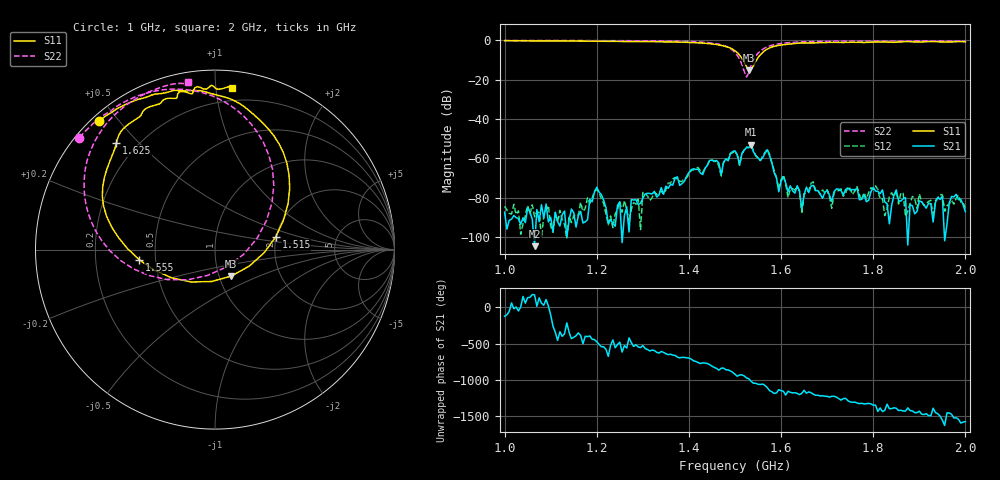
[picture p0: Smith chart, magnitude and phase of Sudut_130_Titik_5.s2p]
# Hz S RI R 50
! CMT, C1220, 16058040, 17.2.0/1
! Date: 14/08/2018 11:48:05
! Data: Format (Calibration Info)
! Freq  S11: Re/Im (F2)  S21: Re/Im (F2)  S12: Re/Im (F2)  S22: Re/Im (F2)
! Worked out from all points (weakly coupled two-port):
!   201 points, 1 GHz to 2 GHz, reference 50 ohm
!   highest |S21| = -52.97 dB at 1.535 GHz (marker M1); lowest = -104.5 dB at 1.065 GHz (marker M2)
!   lowest |S11| = -15.2 dB at 1.53 GHz (marker M3), VSWR 1.42, Z = 57.2 - j17.4 ohm
!   |S11| at or under -10 dB: 1.517 GHz to 1.547 GHz (30.16 MHz wide, 1.97 % of centre)
!   |S22| runs from -18.7 to -0.2 dB; largest |S21 - S12| = 0.00015
!   S11 on the Smith chart (normalised r, x): 1 GHz: 0.02, +0.44; 1.515 GHz: 1.99, +0.32; 1.555 GHz: 0.40, -0.06; 1.625 GHz: 0.13, +0.43; 2 GHz: 0.11, +1.11
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1e9  -0.6472 0.7151  -2.34e-05 -3.66e-05  6.13e-05 3.17e-06  -0.755 0.6244
1.065e9  -0.5757 0.7645  -5.94e-06 5.76e-07  -3.32e-05 -3.36e-06  -0.71 0.6728
1.17e9  -0.4672 0.822  -1.82e-05 -1.41e-05  3.93e-05 -2.34e-05  -0.6183 0.7506
1.335e9  -0.2035 0.8854  9.07e-07 0.000118  -2.45e-05 0.000138  -0.4009 0.866
1.45e9  0.1849 0.7786  -3.5e-05 -0.000896  -0.000122 -0.00092  0.0213 0.8396
1.47e9  0.2973 0.672  -0.000199 -0.000333  -0.000201 -0.000298  0.1616 0.742
1.5e9  0.4162 0.341  -0.00141 0.000664  -0.00135 0.000634  0.3277 0.358
1.51e9  0.3819 0.1649  -0.00058 0.000387  -0.000591 0.000321  0.2862 0.1601
1.515e9  0.339 0.0716  -0.00112 0.000716  -0.00115 0.000672  0.2342 0.0624
1.53e9  0.0912 -0.1476  -0.000111 0.00187  -3.23e-05 0.00188  -0.041 -0.1436
1.535e9  -0.0191 -0.1778  0.00119 0.0019  0.0012 0.0019  -0.1525 -0.1684
1.555e9  -0.4212 -0.0571  0.000861 0.00021  0.000854 0.000217  -0.5262 -0.0607
1.57e9  -0.5771 0.1283  0.00146 -0.000796  0.00149 -0.000884  -0.6654 0.1047
1.595e9  -0.6166 0.3999  7.67e-05 -0.000121  8.9e-05 -0.000139  -0.7291 0.3406
1.605e9  -0.5894 0.4833  6.38e-05 -0.000338  2.03e-05 -0.000381  -0.727 0.4113
1.615e9  -0.5637 0.5469  2.45e-05 -0.00014  1.61e-05 -0.000101  -0.7186 0.4703
1.625e9  -0.5491 0.5941  -3.28e-05 -0.000148  -2.69e-05 -0.000171  -0.7049 0.5201
1.645e9  -0.5125 0.6721  -1.44e-05 -4.91e-05  -5.49e-07 -4.33e-05  -0.6711 0.6005
1.67e9  -0.429 0.733  -0.000101 -0.000181  -0.000136 -0.000215  -0.6271 0.6722
1.71e9  -0.3591 0.7974  -6.98e-05 -4.17e-05  -4.79e-05 -2.6e-05  -0.5602 0.7499
1.835e9  -0.1361 0.8686  1.73e-05 1.37e-05  3.72e-05 0.000102  -0.3774 0.8742
2e9  0.0972 0.9016  -3.33e-05 -2.97e-05  -5.35e-05 1.12e-05  -0.152 0.9343
